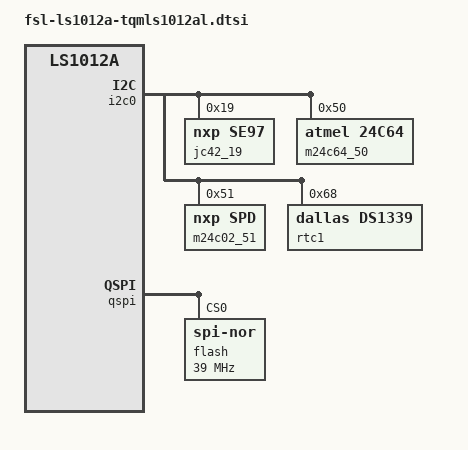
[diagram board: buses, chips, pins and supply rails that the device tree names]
// SPDX-License-Identifier: (GPL-2.0+ OR MIT)
/*
 * Device Tree file for TQ LS1012A TQMLS1012AL SoM.
 *
 * Copyright 2018-2020 TQ-Systems GmbH
 *
 * Authors: Max Merchel <Max.Merchel@tq-group.com>
 *          Matthias Schiffer <matthias.schiffer@tq-group.com>
 */

#include "fsl-ls1012a.dtsi"

/ {
	compatible = "tq,ls1012a-tqmls1012al", "fsl,ls1012a";

	aliases {
		spi0 = &qspi;
	};
};

&cpu_alert {
	temperature = <85000>;
};

&cpu_crit {
	temperature = <95000>;
};

&i2c0 {
	status = "okay";

	jc42_19: eeprom-temperature-sensor@19 {
		compatible = "nxp,se97", "jedec,jc-42.4-temp";
		reg = <0x19>;
	};

	m24c64_50: eeprom@50 {
		compatible = "atmel,24c64";
		reg = <0x50>;
		pagesize = <32>;
		status = "okay";
	};

	m24c02_51: eeprom@51 {
		compatible = "nxp,spd", "atmel,24c02";
		pagesize = <16>;
		reg = <0x51>;
		readl-only;
	};

	rtc1: rtc@68 {
		compatible = "dallas,ds1339";
		reg = <0x68>;
	};
};

&qspi {
	num-cs = <2>;
	bus-num = <0>;
	status = "okay";

	flash@0 {
		compatible = "jedec,spi-nor";
		reg = <0>;
		#address-cells = <1>;
		#size-cells = <1>;
		spi-max-frequency = <39000000>;
		spi-rx-bus-width = <4>;
		spi-tx-bus-width = <1>;
		m25p,fast-read;

		partitions {
			compatible = "fixed-partitions";
			#address-cells = <1>;
			#size-cells = <1>;
		};
	};
};
